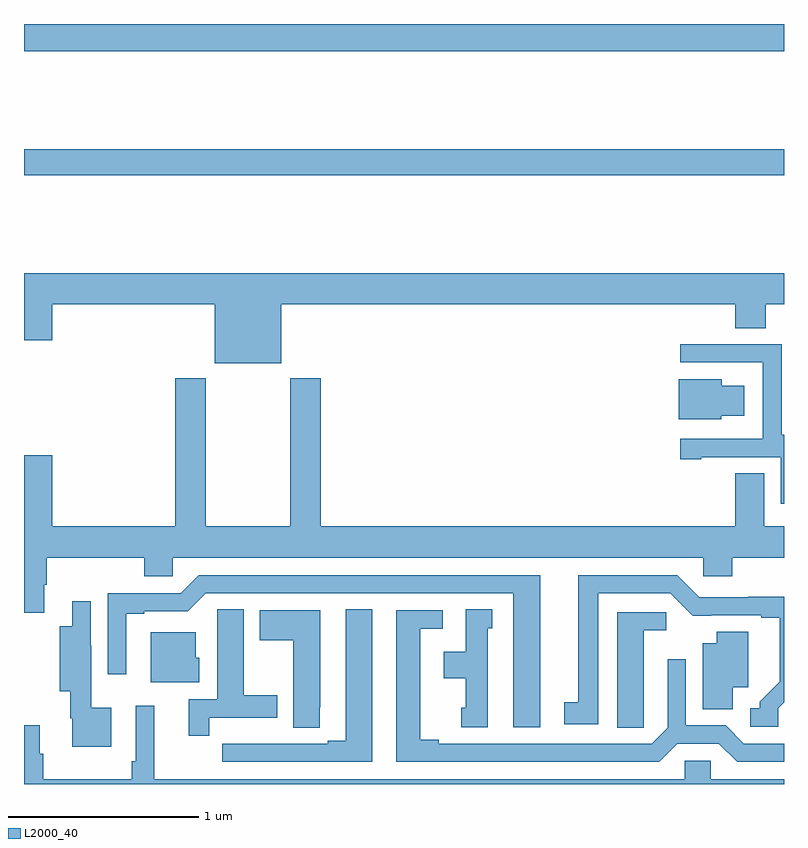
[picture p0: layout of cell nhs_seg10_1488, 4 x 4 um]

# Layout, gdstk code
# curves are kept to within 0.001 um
import gdstk
lib = gdstk.Library(unit=1e-6, precision=1e-09)
def R(c, l, rs):  # rectangles x0, y0, x1, y1
    for r in rs: c.add(gdstk.rectangle(r[:2], r[2:], *l))
def P(c, l, *ps):  # polygons
    for p in ps: c.add(gdstk.Polygon(p, *l))
L2000_40 = (2000, 40)

nhs_seg10_1488 = lib.new_cell('nhs_seg10_1488')
R(nhs_seg10_1488, L2000_40, [(189,1259.704,193,1259.84), (189,1260.356,193,1260.5)])
P(nhs_seg10_1488, L2000_40, [(190.354,1259.024),(192.743,1259.024),(192.743,1258.9),(192.903,1258.9),(192.903,1259.024),(193,1259.024),(193,1259.188),(189,1259.188),(189,1258.836),(189.148,1258.836),(189.148,1259.024),(190.004,1259.024),(190.004,1258.715),(190.354,1258.715)],
  [(193,1258.337),(192.987,1258.337),(192.987,1258.815),(192.453,1258.815),(192.453,1258.719),(192.888,1258.719),(192.888,1258.317),(192.453,1258.317),(192.453,1258.209),(192.565,1258.209),(192.565,1258.221),(192.984,1258.221),(192.984,1257.975),(193,1257.975)],
  [(189.106,1257.55),(189.119,1257.55),(189.119,1257.692),(189.632,1257.692),(189.632,1257.594),(189.783,1257.594),(189.783,1257.692),(192.576,1257.692),(192.576,1257.594),(192.728,1257.594),(192.728,1257.692),(193,1257.692),(193,1257.856),(192.895,1257.856),(192.895,1258.136),(192.743,1258.136),(192.743,1257.856),(190.562,1257.856),(190.562,1258.636),(190.402,1258.636),(190.402,1257.856),(189.957,1257.856),(189.957,1258.636),(189.797,1258.636),(189.797,1257.856),(189.148,1257.856),(189.148,1258.231),(189,1258.231),(189,1257.402),(189.106,1257.402)],
  [(192.669,1258.439),(192.79,1258.439),(192.79,1258.597),(192.673,1258.597),(192.673,1258.63),(192.446,1258.63),(192.446,1258.421),(192.669,1258.421)],
  [(192.969,1256.898),(193,1256.929),(193,1257.485),(192.811,1257.485),(192.811,1257.483),(192.555,1257.483),(192.438,1257.6),(191.918,1257.6),(191.918,1256.93),(191.844,1256.93),(191.844,1256.814),(192.022,1256.814),(192.022,1257.504),(192.402,1257.504),(192.52,1257.386),(192.881,1257.387),(192.881,1257.375),(192.977,1257.375),(192.977,1257.038),(192.872,1256.933),(192.872,1256.898),(192.822,1256.898),(192.822,1256.802),(192.969,1256.802)],
  [(191.716,1257.6),(189.921,1257.6),(189.825,1257.504),(189.441,1257.504),(189.441,1257.078),(189.538,1257.078),(189.538,1257.396),(189.634,1257.396),(189.634,1257.408),(189.861,1257.408),(189.957,1257.504),(191.576,1257.504),(191.576,1256.799),(191.716,1256.799)],
  [(189.46,1256.902),(189.354,1256.902),(189.354,1257.227),(189.352,1257.227),(189.352,1257.463),(189.254,1257.463),(189.254,1257.331),(189.187,1257.331),(189.187,1256.987),(189.243,1256.987),(189.243,1256.846),(189.255,1256.846),(189.255,1256.696),(189.46,1256.696)],
  [(190.834,1257.419),(190.694,1257.419),(190.694,1256.727),(190.598,1256.727),(190.598,1256.712),(190.322,1256.712),(190.322,1256.713),(190.156,1256.713),(190.156,1256.712),(190.044,1256.712),(190.044,1256.616),(190.834,1256.616)],
  [(191.44,1257.321),(191.464,1257.321),(191.464,1257.419),(191.324,1257.419),(191.324,1257.196),(191.21,1257.196),(191.21,1257.056),(191.324,1257.056),(191.324,1256.901),(191.3,1256.901),(191.3,1256.799),(191.44,1256.799)],
  [(189.974,1256.85),(190.333,1256.85),(190.333,1256.967),(190.156,1256.967),(190.156,1257.419),(190.017,1257.419),(190.017,1257.308),(190.016,1257.308),(190.016,1256.946),(189.866,1256.946),(189.866,1256.754),(189.974,1256.754)],
  [(190.557,1256.905),(190.558,1256.905),(190.558,1257.415),(190.241,1257.415),(190.241,1257.256),(190.418,1257.256),(190.418,1256.797),(190.557,1256.797)],
  [(192.439,1256.712),(192.657,1256.712),(192.753,1256.616),(193,1256.616),(193,1256.712),(192.789,1256.712),(192.693,1256.808),(192.483,1256.808),(192.483,1257.157),(192.387,1257.157),(192.387,1256.796),(192.303,1256.712),(191.182,1256.712),(191.182,1256.732),(191.086,1256.732),(191.086,1257.318),(191.203,1257.318),(191.203,1257.414),(190.958,1257.414),(190.958,1256.616),(192.343,1256.616)],
  [(192.261,1256.905),(192.262,1256.905),(192.262,1257.308),(192.379,1257.308),(192.379,1257.405),(192.122,1257.405),(192.122,1256.797),(192.261,1256.797)],
  [(192.73,1257.008),(192.811,1257.008),(192.811,1257.302),(192.647,1257.302),(192.647,1257.241),(192.572,1257.241),(192.572,1256.893),(192.73,1256.893)],
  [(189.922,1257.165),(189.904,1257.165),(189.904,1257.298),(189.668,1257.298),(189.668,1257.035),(189.922,1257.035)],
  [(193,1256.524),(192.615,1256.524),(192.615,1256.622),(192.477,1256.622),(192.477,1256.524),(189.686,1256.524),(189.686,1256.911),(189.588,1256.911),(189.588,1256.62),(189.568,1256.62),(189.568,1256.524),(189.101,1256.524),(189.101,1256.658),(189.082,1256.658),(189.082,1256.809),(189,1256.809),(189,1256.5),(193,1256.5)])

lib.write_gds('nhs_seg10_1488.gds')
